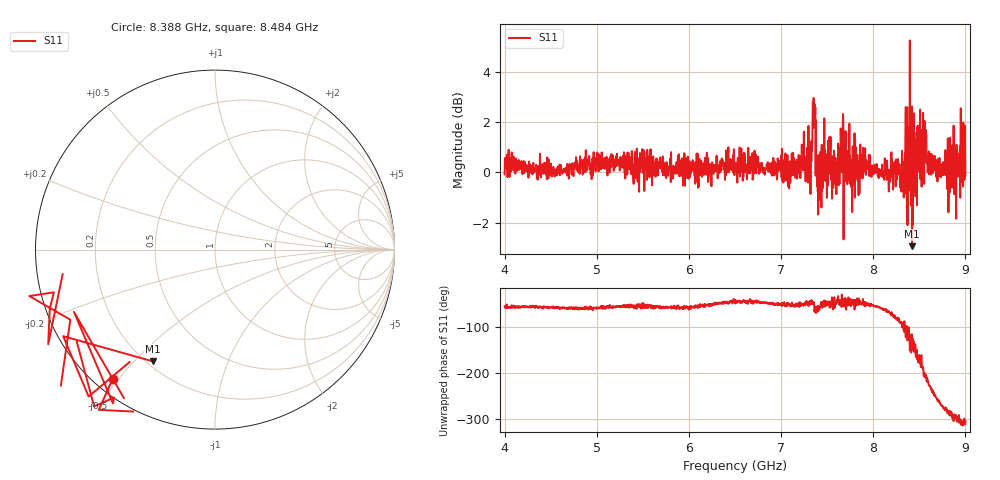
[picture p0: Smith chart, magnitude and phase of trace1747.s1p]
! Created with skrf 1.8.0 (http://scikit-rf.org).
# Hz S RI R 50.0
!freq ReS11 ImS11
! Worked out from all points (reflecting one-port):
!   1601 points, 4 GHz to 9 GHz, reference 50 ohm
!   lowest |S11| = -2.9 dB at 8.422 GHz (marker M1), VSWR 5.96, Z = 11.2 - j28.3 ohm
!   phase of S11 starts at -56 deg and turns -249 deg over the sweep
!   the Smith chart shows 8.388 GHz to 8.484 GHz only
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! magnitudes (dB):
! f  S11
! 4 GHz  -0.1
! 4.625 GHz  0.0
! 5.25 GHz  0.1
! 5.875 GHz  0.1
! 6.5 GHz  0.4
! 7.125 GHz  0.3
! 7.312 GHz  -0.2
! 7.356 GHz  2.8
! 7.412 GHz  -0.3
! 7.512 GHz  1.3
! 7.616 GHz  -0.2
! 7.669 GHz  1.7
! 7.703 GHz  -0.2
! 7.75 GHz  0.0
! 7.891 GHz  0.0
! 8.316 GHz  0.2
! 8.375 GHz  0.9
! 8.412 GHz  -1.3
! 8.422 GHz  -2.9
! 8.425 GHz  -0.2
! 8.447 GHz  1.6
! 8.459 GHz  -1.0
! 8.556 GHz  2.1
! 8.606 GHz  -0.1
! 8.7 GHz  0.1
! 8.841 GHz  0.8
! 8.953 GHz  -0.4
! 9 GHz  -0.1
